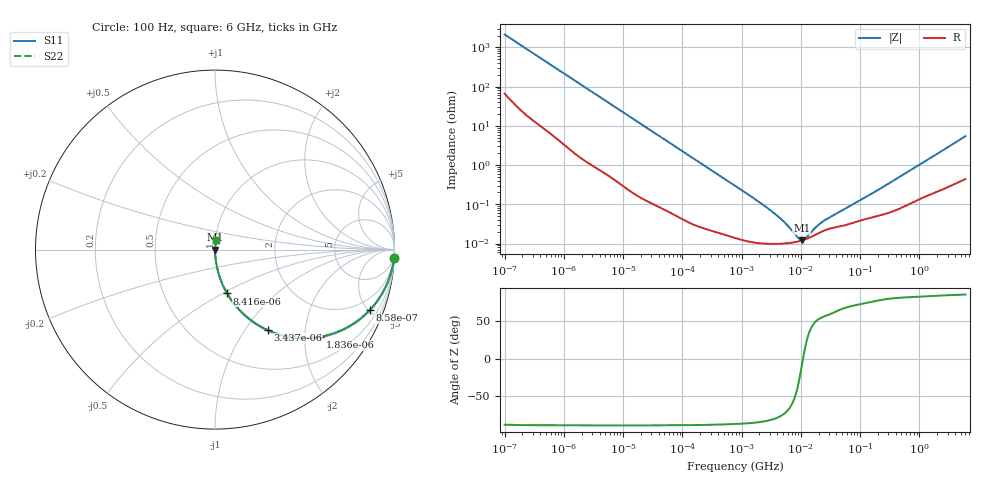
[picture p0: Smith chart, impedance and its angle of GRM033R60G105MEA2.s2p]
!Murata Part Number: GRM033R60G105MEA2
!These Parameters are Measured in Series Mode Connection
!Data Generated on Mar 30, 2021
!  o--ll--o
!Port1  Port2
!  o------o
!Operation Temp=25[degC], DC Bias Voltage=0[V]
!Freq. Start=100[Hz] Stop=6[GHz] 401[Steps]
# Hz S RI R 50
!Freq.(Hz) S11(Real) S11(Imag) S21(Real) S21(Imag) S12(Real) S12(Imag) S22(Real) S22(Imag)
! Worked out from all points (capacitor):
!   401 points, 100 Hz to 6 GHz, reference 50 ohm
!   read as one part in series: C = 744 nF near 109 Hz
!   lowest |Z| = 12.1 mohm at 10.4 MHz (marker M1)
!   series resonance near 10.91 MHz, so ESL is about 290 pH
!   S11 on the Smith chart (normalised r, x): 100 Hz: 2, -43; 858 Hz: 1.08, -5.07; 1.836 kHz: 1.03, -2.38; 3.437 kHz: 1.02, -1.28; 8.416 kHz: 1.01, -0.53; 6 GHz: 1.01, +0.11
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100  0.9964 -0.0467  0.00364 0.0467  0.00364 0.0467  0.9964 -0.0467
320  0.9757 -0.1448  0.0243 0.1448  0.0243 0.1448  0.9757 -0.1448
548  0.936 -0.236  0.064 0.236  0.064 0.236  0.936 -0.236
858  0.8614 -0.3376  0.1386 0.3376  0.1386 0.3376  0.8614 -0.3376
1227  0.7564 -0.4221  0.2436 0.4221  0.2436 0.4221  0.7564 -0.4221
1836  0.5854 -0.486  0.4146 0.486  0.4146 0.486  0.5854 -0.486
2008  0.5423 -0.4916  0.4577 0.4916  0.4577 0.4916  0.5423 -0.4916
3437  0.2926 -0.4483  0.7074 0.4483  0.7074 0.4483  0.2926 -0.4483
5378  0.1474 -0.3477  0.8526 0.3477  0.8526 0.3477  0.1474 -0.3477
8416  0.0676 -0.2445  0.9324 0.2445  0.9324 0.2445  0.0676 -0.2445
17227  0.018 -0.1267  0.982 0.1267  0.982 0.1267  0.018 -0.1267
40335  0.00392 -0.0553  0.9961 0.0553  0.9961 0.0553  0.00392 -0.0553
774597  0.000147 -0.00297  0.9999 0.00297  0.9999 0.00297  0.000147 -0.00297
3712478  9.82e-05 -0.000554  0.9999 0.000554  0.9999 0.000554  9.82e-05 -0.000554
5554849  0.000101 -0.000309  0.9999 0.000309  0.9999 0.000309  0.000101 -0.000309
9090158  0.000113 -7.64e-05  0.9999 7.64e-05  0.9999 7.64e-05  0.000113 -7.64e-05
1.039699e7  0.00012 -1.98e-05  0.9999 1.98e-05  0.9999 1.98e-05  0.00012 -1.98e-05
1.189169e7  0.000128 3.54e-05  0.9999 -3.54e-05  0.9999 -3.54e-05  0.000128 3.54e-05
1.555665e7  0.000152 0.000143  0.9998 -0.000143  0.9998 -0.000143  0.000152 0.000143
2.662322e7  0.000223 0.000345  0.9998 -0.000345  0.9998 -0.000345  0.000223 0.000345
3.124326e8  0.000625 0.00341  0.9994 -0.00341  0.9994 -0.00341  0.000625 0.00341
6e9  0.00725 0.0536  0.9927 -0.0536  0.9927 -0.0536  0.00725 0.0536
